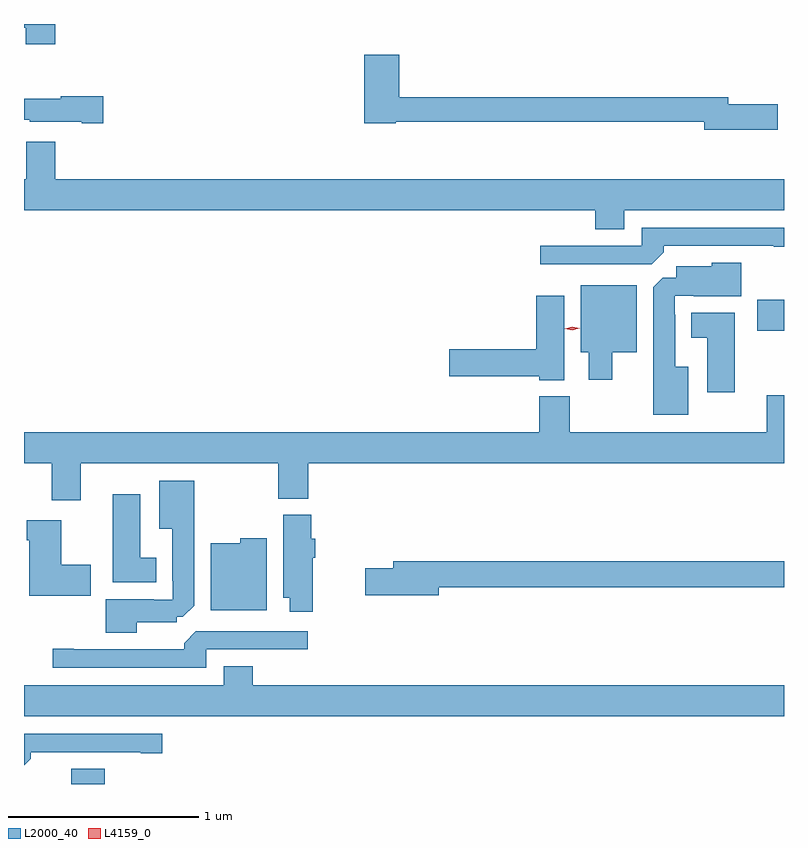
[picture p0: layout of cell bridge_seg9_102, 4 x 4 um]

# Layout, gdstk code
import gdstk
lib = gdstk.Library(unit=1e-6, precision=1e-09)
def R(c, l, rs):  # rectangles x0, y0, x1, y1
    for r in rs: c.add(gdstk.rectangle(r[:2], r[2:], *l))
def P(c, l, *ps):  # polygons
    for p in ps: c.add(gdstk.Polygon(p, *l))
L2000_40 = (2000, 40)
L4159_0 = (4159, 0)

bridge_seg9_102 = lib.new_cell('bridge_seg9_102')
R(bridge_seg9_102, L2000_40, [(779.174,1165.428,779.35,1165.507), (782.784,1167.814,782.925,1167.976)])
P(bridge_seg9_102, L2000_40, [(779.09,1169.428),(778.925,1169.428),(778.925,1169.408),(778.935,1169.408),(778.935,1169.321),(779.09,1169.321)],
  [(782.893,1169.006),(782.632,1169.006),(782.632,1169.042),(780.899,1169.042),(780.899,1169.266),(780.716,1169.266),(780.716,1168.906),(780.882,1168.906),(780.882,1168.914),(782.504,1168.914),(782.504,1168.871),(782.893,1168.871)],
  [(779.341,1169.048),(779.118,1169.048),(779.118,1169.035),(778.925,1169.035),(778.925,1168.925),(778.956,1168.925),(778.956,1168.913),(779.228,1168.913),(779.228,1168.906),(779.341,1168.906)],
  [(782.083,1168.448),(782.925,1168.448),(782.925,1168.612),(779.09,1168.612),(779.09,1168.807),(778.937,1168.807),(778.937,1168.612),(778.925,1168.612),(778.925,1168.448),(781.931,1168.448),(781.931,1168.349),(782.083,1168.349)],
  [(782.291,1168.226),(782.291,1168.26),(782.87,1168.26),(782.87,1168.255),(782.925,1168.255),(782.925,1168.356),(782.175,1168.356),(782.175,1168.26),(781.641,1168.26),(781.641,1168.164),(782.229,1168.164)],
  [(782.422,1167.625),(782.353,1167.625),(782.353,1167.899),(782.349,1167.899),(782.349,1167.999),(782.449,1167.999),(782.449,1167.995),(782.701,1167.995),(782.701,1168.171),(782.544,1168.171),(782.544,1168.153),(782.357,1168.153),(782.357,1168.092),(782.286,1168.092),(782.237,1168.043),(782.237,1167.371),(782.422,1167.371)],
  [(782.02,1167.701),(782.149,1167.701),(782.149,1168.054),(781.856,1168.054),(781.856,1167.701),(781.898,1167.701),(781.898,1167.555),(782.02,1167.555)],
  [(781.768,1167.997),(781.622,1167.997),(781.622,1167.716),(781.164,1167.716),(781.164,1167.574),(781.638,1167.574),(781.638,1167.554),(781.768,1167.554)],
  [(782.665,1167.907),(782.438,1167.907),(782.438,1167.776),(782.522,1167.776),(782.522,1167.489),(782.665,1167.489)],
  [(779.224,1167.116),(780.262,1167.116),(780.262,1166.929),(780.422,1166.929),(780.422,1167.116),(782.925,1167.116),(782.925,1167.475),(782.834,1167.475),(782.834,1167.28),(781.797,1167.28),(781.797,1167.469),(781.637,1167.469),(781.637,1167.28),(778.925,1167.28),(778.925,1167.116),(779.072,1167.116),(779.072,1166.922),(779.224,1166.922)],
  [(779.518,1166.279),(779.73,1166.279),(779.73,1166.307),(779.761,1166.307),(779.821,1166.367),(779.821,1167.025),(779.636,1167.025),(779.636,1166.771),(779.705,1166.771),(779.705,1166.497),(779.709,1166.497),(779.709,1166.397),(779.609,1166.397),(779.609,1166.401),(779.354,1166.401),(779.354,1166.225),(779.518,1166.225)],
  [(779.62,1166.62),(779.536,1166.62),(779.536,1166.953),(779.393,1166.953),(779.393,1166.489),(779.62,1166.489)],
  [(780.445,1166.618),(780.458,1166.618),(780.458,1166.718),(780.437,1166.718),(780.437,1166.844),(780.29,1166.844),(780.29,1166.408),(780.323,1166.408),(780.323,1166.334),(780.445,1166.334)],
  [(779.275,1166.583),(779.122,1166.583),(779.122,1166.815),(778.94,1166.815),(778.94,1166.711),(778.952,1166.711),(778.952,1166.42),(779.275,1166.42)],
  [(780.202,1166.722),(780.063,1166.722),(780.063,1166.695),(779.909,1166.695),(779.909,1166.342),(780.202,1166.342)],
  [(781.108,1166.464),(782.925,1166.464),(782.925,1166.6),(780.869,1166.6),(780.869,1166.564),(780.72,1166.564),(780.72,1166.422),(781.108,1166.422)],
  [(779.883,1166.136),(780.418,1166.136),(780.418,1166.232),(779.829,1166.232),(779.768,1166.17),(779.768,1166.136),(779.188,1166.136),(779.188,1166.141),(779.076,1166.141),(779.076,1166.04),(779.883,1166.04)],
  [(782.925,1165.948),(780.128,1165.948),(780.128,1166.047),(779.975,1166.047),(779.975,1165.948),(778.925,1165.948),(778.925,1165.784),(782.925,1165.784)],
  [(778.961,1165.562),(778.961,1165.596),(779.54,1165.596),(779.54,1165.591),(779.653,1165.591),(779.653,1165.692),(778.925,1165.692),(778.925,1165.526)])
P(bridge_seg9_102, L4159_0, [(781.811,1167.815),(781.772,1167.824),(781.772,1167.825),(781.772,1167.825),(781.81,1167.835),(781.849,1167.826),(781.849,1167.826),(781.849,1167.826)])

lib.write_gds('bridge_seg9_102.gds')
